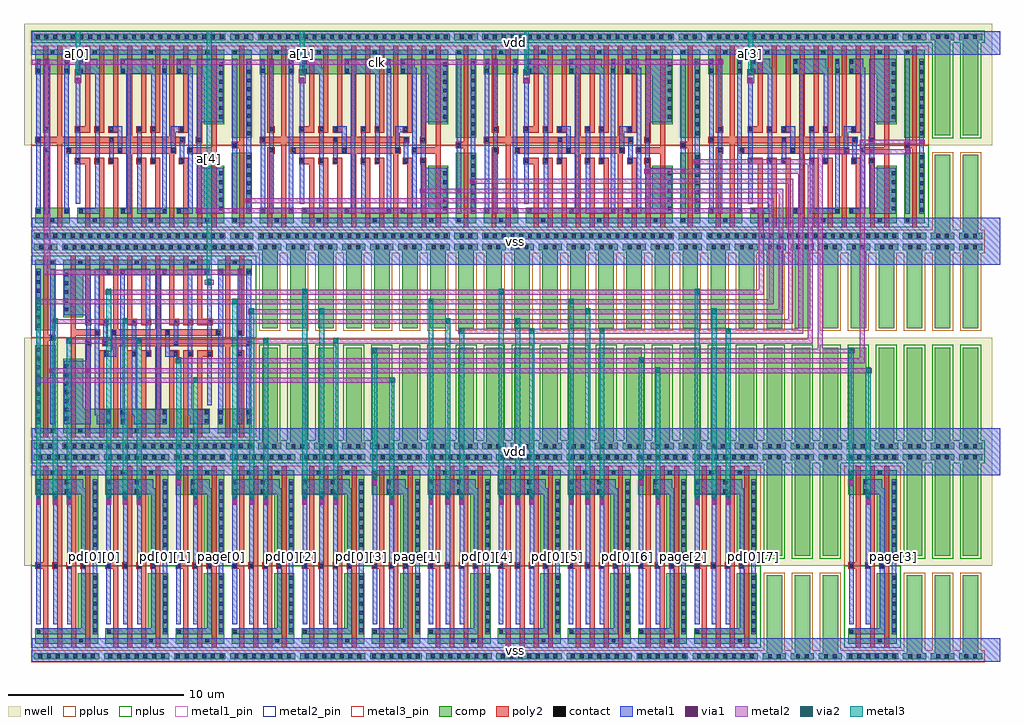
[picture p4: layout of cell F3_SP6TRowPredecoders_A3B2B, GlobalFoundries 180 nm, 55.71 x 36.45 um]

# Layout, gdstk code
from math import pi, radians
import gdstk
lib = gdstk.Library(unit=1e-6, precision=1e-09)
def R(c, l, rs):  # rectangles x0, y0, x1, y1
    for r in rs: c.add(gdstk.rectangle(r[:2], r[2:], *l))
def A(c, l, x, y, w, h, nx, ny, dx, dy):  # array of equal rectangles
    R(c, l, [(x+i*dx, y+j*dy, x+i*dx+w, y+j*dy+h) for i in range(nx) for j in range(ny)])
def P(c, l, *ps):  # polygons
    for p in ps: c.add(gdstk.Polygon(p, *l))
nwell = (21, 0)
comp = (22, 0)
poly2 = (30, 0)
pplus = (31, 0)
nplus = (32, 0)
contact = (33, 0)
metal1 = (34, 0)
metal1_pin = (34, 10)
via1 = (35, 0)
metal2 = (36, 0)
metal2_pin = (36, 10)
via2 = (38, 0)
metal3 = (42, 0)
metal3_pin = (42, 10)

f3_dec_and2_x1 = lib.new_cell('F3_Dec_and2_x1')
R(f3_dec_and2_x1, nwell, [(-0.43,5.5,3.63,12.43)])
R(f3_dec_and2_x1, comp, [(0.14,0.14,3.06,0.5), (0.14,11.5,3.06,11.86)])
P(f3_dec_and2_x1, comp, [(0.22,1.045),(0.22,1.925),(1.84,1.925),(1.84,5.07),(3,5.07),(3,1.045)],
  [(1.84,5.93),(1.84,9.555),(0.22,9.555),(0.22,10.955),(3,10.955),(3,5.93)])
P(f3_dec_and2_x1, poly2, [(1.46,0.825),(1.46,5.32),(1.18,5.32),(1.18,5.68),(1.46,5.68),(1.46,11.175),(1.74,11.175),(1.74,0.825)],
  [(0.66,0.825),(0.66,5.32),(0.22,5.32),(0.22,5.68),(0.66,5.68),(0.66,11.175),(0.94,11.175),(0.94,0.825)],
  [(2.28,0.825),(2.28,5.32),(1.98,5.32),(1.98,5.68),(2.28,5.68),(2.28,11.175),(2.56,11.175),(2.56,0.825)])
R(f3_dec_and2_x1, pplus, [(-0.02,-0.02,3.22,0.66), (-0.02,5.5,3.22,11.185)])
R(f3_dec_and2_x1, nplus, [(-0.02,0.815,3.22,5.5), (-0.02,11.34,3.22,12.02)])
A(f3_dec_and2_x1, contact, 0.24, 0.21, 0.22, 0.22, 6, 2, 0.5, 11.36)
A(f3_dec_and2_x1, contact, 2.71, 1.705, 0.22, 0.22, 1, 7, 0, 0.5)
A(f3_dec_and2_x1, contact, 2.71, 6.075, 0.22, 0.22, 1, 9, 0, 0.5)
R(f3_dec_and2_x1, contact, [(1.91,1.115,2.13,1.335), (0.29,1.63,0.51,1.85), (0.29,5.39,0.51,5.61), (1.25,5.39,1.47,5.61), (2.05,5.39,2.27,5.61), (1.09,9.64,1.31,9.86), (1.09,10.14,1.31,10.36), (0.29,10.665,0.51,10.885), (1.91,10.665,2.13,10.885)])
R(f3_dec_and2_x1, metal1, [(0,0,3.2,1.34), (2.69,1.57,2.95,10.43), (0.27,2.14,0.53,10.43), (1.23,2.14,1.49,9.35), (0,10.66,3.2,12)])
P(f3_dec_and2_x1, metal1, [(0.285,1.57),(0.285,1.91),(2.03,1.91),(2.03,9.58),(1.085,9.58),(1.085,10.43),(2.16,10.43),(2.16,9.92),(2.29,9.92),(2.29,1.57)])
R(f3_dec_and2_x1, metal1_pin, [(0,0,3.2,1.34), (2.69,1.57,2.95,10.43), (0.27,2.14,0.53,10.43), (1.23,2.14,1.49,9.35), (0,10.66,3.2,12)])
f3_dec_and2_x1.add(gdstk.Label('q', (2.82,6), layer=34, texttype=10))
f3_dec_and2_x1.add(gdstk.Label('i1', (1.36,5.745), layer=34, texttype=10))
f3_dec_and2_x1.add(gdstk.Label('i0', (0.4,6.285), layer=34, texttype=10))
f3_dec_and2_x1.add(gdstk.Label('vss', (1.6,0.67), layer=34, texttype=10))
f3_dec_and2_x1.add(gdstk.Label('vdd', (1.6,11.33), layer=34, texttype=10))

f3_dec_and3_x1 = lib.new_cell('F3_Dec_and3_x1')
R(f3_dec_and3_x1, nwell, [(-0.43,5.5,4.43,12.43)])
R(f3_dec_and3_x1, comp, [(0.14,0.14,3.86,0.5), (0.14,11.5,3.86,11.86)])
P(f3_dec_and3_x1, comp, [(0.22,1.045),(0.22,1.925),(2.64,1.925),(2.64,5.07),(3.8,5.07),(3.8,1.045)],
  [(2.64,5.93),(2.64,9.555),(0.22,9.555),(0.22,10.955),(3.8,10.955),(3.8,5.93)])
P(f3_dec_and3_x1, poly2, [(1.46,0.825),(1.46,5.32),(1.18,5.32),(1.18,5.68),(1.46,5.68),(1.46,11.175),(1.74,11.175),(1.74,0.825)],
  [(2.26,0.825),(2.26,5.32),(1.98,5.32),(1.98,5.68),(2.26,5.68),(2.26,11.175),(2.54,11.175),(2.54,0.825)],
  [(0.66,0.825),(0.66,5.32),(0.22,5.32),(0.22,5.68),(0.66,5.68),(0.66,11.175),(0.94,11.175),(0.94,0.825)],
  [(3.08,0.825),(3.08,5.32),(2.78,5.32),(2.78,5.68),(3.08,5.68),(3.08,11.175),(3.36,11.175),(3.36,0.825)])
R(f3_dec_and3_x1, pplus, [(-0.02,-0.02,4.02,0.66), (-0.02,5.5,4.02,11.185)])
R(f3_dec_and3_x1, nplus, [(-0.02,0.815,4.02,5.5), (-0.02,11.34,4.02,12.02)])
A(f3_dec_and3_x1, contact, 0.39, 0.21, 0.22, 0.22, 7, 2, 0.5, 11.36)
A(f3_dec_and3_x1, contact, 3.51, 1.705, 0.22, 0.22, 1, 7, 0, 0.5)
A(f3_dec_and3_x1, contact, 1.25, 5.39, 0.22, 0.22, 3, 1, 0.8, 0)
A(f3_dec_and3_x1, contact, 3.51, 6.075, 0.22, 0.22, 1, 9, 0, 0.5)
R(f3_dec_and3_x1, contact, [(2.71,1.115,2.93,1.335), (0.29,1.63,0.51,1.85), (0.29,5.39,0.51,5.61), (0.29,9.64,0.51,9.86), (1.89,9.64,2.11,9.86), (0.29,10.14,0.51,10.36), (1.89,10.14,2.11,10.36), (1.09,10.665,1.31,10.885), (2.71,10.665,2.93,10.885)])
R(f3_dec_and3_x1, metal1, [(0,0,4,1.34), (3.49,1.57,3.75,10.43), (0.27,2.14,0.53,9.35), (1.23,2.14,1.49,9.35), (2.03,2.14,2.29,9.35), (0,10.66,4,12)])
P(f3_dec_and3_x1, metal1, [(0.285,1.57),(0.285,1.91),(2.83,1.91),(2.83,9.58),(0.285,9.58),(0.285,10.43),(2.96,10.43),(2.96,9.92),(3.09,9.92),(3.09,1.57)])
R(f3_dec_and3_x1, metal1_pin, [(0,0,4,1.34), (3.49,1.57,3.75,10.43), (0.27,2.14,0.53,9.35), (1.23,2.14,1.49,9.35), (2.03,2.14,2.29,9.35), (0,10.66,4,12)])
f3_dec_and3_x1.add(gdstk.Label('q', (3.62,6), layer=34, texttype=10))
f3_dec_and3_x1.add(gdstk.Label('i2', (2.16,5.745), layer=34, texttype=10))
f3_dec_and3_x1.add(gdstk.Label('i1', (1.36,5.745), layer=34, texttype=10))
f3_dec_and3_x1.add(gdstk.Label('i0', (0.4,5.745), layer=34, texttype=10))
f3_dec_and3_x1.add(gdstk.Label('vss', (2,0.67), layer=34, texttype=10))
f3_dec_and3_x1.add(gdstk.Label('vdd', (2,11.33), layer=34, texttype=10))

f3_dec_tie_diff_w2 = lib.new_cell('F3_Dec_tie_diff_w2')
R(f3_dec_tie_diff_w2, nwell, [(-0.43,5.5,2.03,12.43)])
P(f3_dec_tie_diff_w2, comp, [(0.14,0.14),(0.14,0.5),(0.36,0.5),(0.36,4.94),(1.24,4.94),(1.24,0.5),(1.46,0.5),(1.46,0.14)],
  [(0.36,6.06),(0.36,11.5),(0.14,11.5),(0.14,11.86),(1.46,11.86),(1.46,11.5),(1.24,11.5),(1.24,6.06)])
P(f3_dec_tie_diff_w2, pplus, [(-0.02,-0.02),(-0.02,0.66),(0.2,0.66),(0.2,5.1),(1.4,5.1),(1.4,0.66),(1.62,0.66),(1.62,-0.02)])
P(f3_dec_tie_diff_w2, nplus, [(0.2,5.9),(0.2,11.34),(-0.02,11.34),(-0.02,12.02),(1.62,12.02),(1.62,11.34),(1.4,11.34),(1.4,5.9)])
R(f3_dec_tie_diff_w2, contact, [(0.44,0.21,0.66,0.43), (0.94,0.21,1.16,0.43), (0.44,11.57,0.66,11.79), (0.94,11.57,1.16,11.79)])
R(f3_dec_tie_diff_w2, metal1, [(0,0,1.6,1.34), (0,10.66,1.6,12)])
R(f3_dec_tie_diff_w2, metal1_pin, [(0,0,1.6,1.34), (0,10.66,1.6,12)])
f3_dec_tie_diff_w2.add(gdstk.Label('vss', (0.8,0.67), layer=34, texttype=10))
f3_dec_tie_diff_w2.add(gdstk.Label('vdd', (0.8,11.33), layer=34, texttype=10))

f3_dec_dff_x1 = lib.new_cell('F3_Dec_dff_x1')
R(f3_dec_dff_x1, nwell, [(-0.43,5.5,11.63,12.43)])
R(f3_dec_dff_x1, comp, [(0.14,0.14,11.06,0.5), (0.22,1.045,2.18,1.925), (0.22,9.555,2.18,10.955), (0.14,11.5,11.06,11.86)])
P(f3_dec_dff_x1, comp, [(2.62,1.045),(2.62,1.925),(9.84,1.925),(9.84,4.32),(11,4.32),(11,1.045)],
  [(9.84,6.68),(9.84,9.555),(2.62,9.555),(2.62,10.955),(11,10.955),(11,6.68)])
P(f3_dec_dff_x1, poly2, [(9.38,5.62),(9.38,5.98),(9.46,5.98),(9.46,11.175),(9.74,11.175),(9.74,5.62)],
  [(10.28,0.825),(10.28,5.02),(8.89,5.02),(8.89,5.38),(10.28,5.38),(10.28,11.175),(10.56,11.175),(10.56,0.825)],
  [(2.47,6.22),(2.47,6.58),(3.06,6.58),(3.06,11.175),(3.34,11.175),(3.34,6.22)],
  [(3.06,0.825),(3.06,4.42),(2.47,4.42),(2.47,4.78),(3.34,4.78),(3.34,0.825)],
  [(3.58,6.22),(3.58,6.58),(3.86,6.58),(3.86,11.175),(4.14,11.175),(4.14,6.22)],
  [(4.38,6.22),(4.38,6.58),(4.66,6.58),(4.66,11.175),(4.94,11.175),(4.94,6.22)],
  [(5.98,6.22),(5.98,6.58),(6.26,6.58),(6.26,11.175),(6.54,11.175),(6.54,6.22)],
  [(6.78,6.22),(6.78,6.58),(7.06,6.58),(7.06,11.175),(7.34,11.175),(7.34,6.22)],
  [(8.38,6.22),(8.38,6.58),(8.66,6.58),(8.66,11.175),(8.94,11.175),(8.94,6.22)],
  [(5.46,0.825),(5.46,5.02),(1.98,5.02),(1.98,5.38),(8.27,5.38),(8.27,5.02),(8.14,5.02),(8.14,0.825),(7.86,0.825),(7.86,5.02),(5.74,5.02),(5.74,0.825)],
  [(3.86,0.825),(3.86,4.42),(3.58,4.42),(3.58,4.78),(4.14,4.78),(4.14,0.825)],
  [(4.66,0.825),(4.66,4.42),(4.38,4.42),(4.38,4.78),(4.94,4.78),(4.94,0.825)],
  [(6.26,0.825),(6.26,4.42),(5.98,4.42),(5.98,4.78),(6.54,4.78),(6.54,0.825)],
  [(7.06,0.825),(7.06,4.42),(6.78,4.42),(6.78,4.78),(7.34,4.78),(7.34,0.825)],
  [(9.46,0.825),(9.46,4.42),(9.38,4.42),(9.38,4.78),(9.74,4.78),(9.74,0.825)],
  [(0.66,0.825),(0.66,5.38),(1.07,5.38),(1.07,5.02),(0.94,5.02),(0.94,0.825)],
  [(0.66,6.22),(0.66,11.175),(0.94,11.175),(0.94,6.58),(1.07,6.58),(1.07,6.22)],
  [(8.66,0.825),(8.66,4.42),(8.4,4.42),(8.4,4.78),(8.94,4.78),(8.94,0.825)],
  [(1.46,0.825),(1.46,5.62),(0.22,5.62),(0.22,5.98),(1.46,5.98),(1.46,11.175),(1.74,11.175),(1.74,5.98),(5.46,5.98),(5.46,11.175),(5.74,11.175),(5.74,5.98),(7.86,5.98),(7.86,11.175),(8.14,11.175),(8.14,5.98),(8.76,5.98),(8.76,5.62),(1.74,5.62),(1.74,0.825)])
R(f3_dec_dff_x1, pplus, [(-0.02,-0.02,11.22,0.66), (-0.02,5.5,11.22,11.185)])
R(f3_dec_dff_x1, nplus, [(-0.02,0.815,11.22,5.5), (-0.02,11.34,11.22,12.02)])
A(f3_dec_dff_x1, contact, 0.24, 0.21, 0.22, 0.22, 22, 2, 0.5, 11.36)
A(f3_dec_dff_x1, contact, 2.69, 1.63, 0.22, 0.22, 3, 2, 2.4, 8.01)
A(f3_dec_dff_x1, contact, 10.71, 1.775, 0.22, 0.22, 1, 5, 0, 0.5)
A(f3_dec_dff_x1, contact, 10.71, 7.005, 0.22, 0.22, 1, 7, 0, 0.5)
A(f3_dec_dff_x1, contact, 2.69, 10.14, 0.22, 0.22, 3, 1, 2.4, 0)
R(f3_dec_dff_x1, contact, [(1.09,1.115,1.31,1.335), (3.49,1.115,3.71,1.335), (6.69,1.115,6.91,1.335), (9.91,1.115,10.13,1.335), (0.29,1.63,0.51,1.85), (1.89,1.63,2.11,1.85), (8.29,1.63,8.51,1.85), (2.54,4.49,2.76,4.71), (3.65,4.49,3.87,4.71), (4.45,4.49,4.67,4.71), (6.05,4.49,6.27,4.71), (6.85,4.49,7.07,4.71), (8.47,4.49,8.69,4.71), (9.45,4.49,9.67,4.71), (0.78,5.09,1,5.31), (2.05,5.09,2.27,5.31), (4.94,5.09,5.16,5.31), (7.98,5.09,8.2,5.31), (8.96,5.09,9.18,5.31), (0.29,5.69,0.51,5.91), (4.45,5.69,4.67,5.91), (8.47,5.69,8.69,5.91), (9.45,5.69,9.67,5.91), (0.78,6.29,1,6.51), (2.54,6.29,2.76,6.51), (3.65,6.29,3.87,6.51), (4.45,6.29,4.67,6.51), (6.05,6.29,6.27,6.51), (6.85,6.29,7.07,6.51), (8.45,6.29,8.67,6.51), (0.29,9.64,0.51,9.86), (1.89,9.64,2.11,9.86), (8.29,9.64,8.51,9.86), (0.29,10.14,0.51,10.36), (1.89,10.14,2.11,10.36), (8.29,10.14,8.51,10.36), (1.09,10.665,1.31,10.885), (3.49,10.665,3.71,10.885), (6.69,10.665,6.91,10.885), (9.91,10.665,10.13,10.885)])
R(f3_dec_dff_x1, metal1, [(0,0,11.2,1.34), (0.76,1.57,1.02,10.43), (2.52,2.14,2.78,9.35), (4.43,4.43,4.69,5.97), (8.45,4.43,8.71,5.97), (0,10.66,11.2,12)])
P(f3_dec_dff_x1, metal1, [(9.43,1.57),(9.43,10.43),(10.935,10.43),(10.935,6.8),(9.69,6.8),(9.69,4.2),(10.935,4.2),(10.935,1.57)],
  [(8.285,1.57),(8.285,1.91),(8.94,1.91),(8.94,9.58),(8.285,9.58),(8.285,10.43),(9.07,10.43),(9.07,9.92),(9.2,9.92),(9.2,1.57)],
  [(5.085,1.57),(5.085,1.91),(5.41,1.91),(5.41,9.58),(5.085,9.58),(5.085,10.43),(6.96,10.43),(6.96,9.92),(7.09,9.92),(7.09,4.43),(6.83,4.43),(6.83,9.58),(5.67,9.58),(5.67,1.57)],
  [(4.92,5.03),(4.92,6.23),(4.445,6.23),(4.445,6.57),(5.18,6.57),(5.18,5.03)],
  [(2.685,1.57),(2.685,1.91),(3.63,1.91),(3.63,9.58),(2.685,9.58),(2.685,10.43),(3.76,10.43),(3.76,9.92),(3.89,9.92),(3.89,1.57)],
  [(7.96,5.03),(7.96,6.57),(8.675,6.57),(8.675,6.23),(8.22,6.23),(8.22,5.03)],
  [(6.03,1.57),(6.03,6.57),(6.29,6.57),(6.29,1.91),(7.47,1.91),(7.47,9.92),(7.485,9.92),(7.485,10.43),(7.715,10.43),(7.715,9.92),(7.73,9.92),(7.73,1.57)],
  [(1.87,1.57),(1.87,9.92),(1.885,9.92),(1.885,10.43),(2.115,10.43),(2.115,9.92),(2.13,9.92),(2.13,5.37),(2.275,5.37),(2.275,5.03),(2.13,5.03),(2.13,1.57)],
  [(0.27,1.57),(0.27,9.92),(0.285,9.92),(0.285,10.43),(0.515,10.43),(0.515,9.92),(0.53,9.92),(0.53,1.57)])
R(f3_dec_dff_x1, metal1_pin, [(0,0,11.2,1.34), (0.76,1.57,1.02,10.43), (9.43,1.57,9.69,10.43), (2.52,2.14,2.78,9.35), (0,10.66,11.2,12)])
f3_dec_dff_x1.add(gdstk.Label('q', (9.56,6), layer=34, texttype=10))
f3_dec_dff_x1.add(gdstk.Label('i', (2.65,5.745), layer=34, texttype=10))
f3_dec_dff_x1.add(gdstk.Label('clk', (0.89,6), layer=34, texttype=10))
f3_dec_dff_x1.add(gdstk.Label('vss', (5.6,0.67), layer=34, texttype=10))
f3_dec_dff_x1.add(gdstk.Label('vdd', (5.6,11.33), layer=34, texttype=10))

f3_dec_inv_x1 = lib.new_cell('F3_Dec_inv_x1')
R(f3_dec_inv_x1, nwell, [(-0.43,5.5,2.03,12.43)])
R(f3_dec_inv_x1, comp, [(0.14,0.14,1.46,0.5), (0.22,1.045,1.38,5.07), (0.22,5.93,1.38,10.955), (0.14,11.5,1.46,11.86)])
P(f3_dec_inv_x1, poly2, [(0.66,0.825),(0.66,5.32),(0.22,5.32),(0.22,5.68),(0.66,5.68),(0.66,11.175),(0.94,11.175),(0.94,0.825)])
R(f3_dec_inv_x1, pplus, [(-0.02,-0.02,1.62,0.66), (-0.02,5.5,1.62,11.185)])
R(f3_dec_inv_x1, nplus, [(-0.02,0.815,1.62,5.5), (-0.02,11.34,1.62,12.02)])
A(f3_dec_inv_x1, contact, 1.09, 1.705, 0.22, 0.22, 1, 7, 0, 0.5)
A(f3_dec_inv_x1, contact, 1.09, 6.075, 0.22, 0.22, 1, 9, 0, 0.5)
R(f3_dec_inv_x1, contact, [(0.44,0.21,0.66,0.43), (0.94,0.21,1.16,0.43), (0.29,1.115,0.51,1.335), (0.29,5.39,0.51,5.61), (0.29,10.665,0.51,10.885), (0.44,11.57,0.66,11.79), (0.94,11.57,1.16,11.79)])
R(f3_dec_inv_x1, metal1, [(0,0,1.6,1.34), (0.27,1.57,0.53,10.43), (1.07,1.57,1.33,10.43), (0,10.66,1.6,12)])
R(f3_dec_inv_x1, metal1_pin, [(0,0,1.6,1.34), (0.27,1.57,0.53,10.43), (1.07,1.57,1.33,10.43), (0,10.66,1.6,12)])
f3_dec_inv_x1.add(gdstk.Label('i', (0.4,6), layer=34, texttype=10))
f3_dec_inv_x1.add(gdstk.Label('nq', (1.2,6), layer=34, texttype=10))
f3_dec_inv_x1.add(gdstk.Label('vdd', (0.8,11.33), layer=34, texttype=10))
f3_dec_inv_x1.add(gdstk.Label('vss', (0.8,0.67), layer=34, texttype=10))

f3_sp6trowpredecoders_a3 = lib.new_cell('F3_SP6TRowPredecoders_A3B2B')
A(f3_sp6trowpredecoders_a3, metal1, 10.69, 1.57, 0.26, 8.86, 3, 1, 4, 0)
A(f3_sp6trowpredecoders_a3, metal1, 21.89, 1.57, 0.26, 8.86, 4, 1, 4, 0)
A(f3_sp6trowpredecoders_a3, metal1, 2.52, 32.97, 0.26, 0.38, 4, 1, 12.8, 0)
A(f3_sp6trowpredecoders_a3, metal1, 0.76, 34.05, 0.26, 0.38, 4, 1, 12.8, 0)
R(f3_sp6trowpredecoders_a3, metal1, [(0,0,55.28,1.34), (3.49,1.57,3.75,10.43), (7.49,1.57,7.75,10.43), (37.09,1.57,37.35,10.43), (41.09,1.57,41.35,10.43), (49.09,1.57,49.35,10.43), (0.27,8.97,0.53,9.35), (1.23,8.97,1.49,9.35), (2.03,8.97,2.29,9.35), (4.27,8.97,4.53,9.35), (5.23,8.97,5.49,9.35), (6.03,8.97,6.29,9.35), (9.23,8.97,9.49,9.35), (11.47,8.97,11.73,9.35), (12.43,8.97,12.69,9.35), (13.23,8.97,13.49,9.35), (15.47,8.97,15.73,9.35), (16.43,8.97,16.69,9.35), (17.23,8.97,17.49,9.35), (20.43,8.97,20.69,9.35), (22.67,8.97,22.93,9.35), (23.63,8.97,23.89,9.35), (24.43,8.97,24.69,9.35), (26.67,8.97,26.93,9.35), (27.63,8.97,27.89,9.35), (28.43,8.97,28.69,9.35), (30.67,8.97,30.93,9.35), (31.63,8.97,31.89,9.35), (32.43,8.97,32.69,9.35), (35.63,8.97,35.89,9.35), (37.87,8.97,38.13,9.35), (38.83,8.97,39.09,9.35), (39.63,8.97,39.89,9.35), (47.63,8.97,47.89,9.35), (8.27,10.05,8.53,10.43), (19.47,10.05,19.73,10.43), (34.67,10.05,34.93,10.43), (46.67,10.05,46.93,10.43), (0,10.66,55.28,13.34), (0.27,15.88,0.53,16.26), (1.07,16.44,1.33,16.82), (3.11,16.44,3.37,16.82), (10.02,21.48,10.28,21.86), (11.78,22.05,12.04,22.43), (0,22.66,55.28,25.34), (9.43,25.57,9.69,25.95), (11.47,25.57,11.73,25.95), (12.27,26.13,12.53,26.51), (22.23,26.69,22.49,27.07), (24.27,26.69,24.53,27.07), (25.07,27.25,25.33,27.63), (35.03,27.81,35.29,28.19), (37.07,27.81,37.33,28.19), (37.87,28.37,38.13,28.75), (47.83,28.93,48.09,29.31), (49.87,28.93,50.13,29.31), (50.67,29.49,50.93,29.87), (0,34.66,55.28,36)])
A(f3_sp6trowpredecoders_a3, metal1_pin, 10.69, 1.57, 0.26, 8.86, 3, 1, 4, 0)
A(f3_sp6trowpredecoders_a3, metal1_pin, 21.89, 1.57, 0.26, 8.86, 4, 1, 4, 0)
R(f3_sp6trowpredecoders_a3, metal1_pin, [(0,0,55.28,1.34), (3.49,1.57,3.75,10.43), (7.49,1.57,7.75,10.43), (37.09,1.57,37.35,10.43), (41.09,1.57,41.35,10.43), (49.09,1.57,49.35,10.43), (0,10.66,55.28,13.34), (0,22.66,55.28,25.34), (0,34.66,55.28,36)])
A(f3_sp6trowpredecoders_a3, via1, 2.52, 33.03, 0.26, 0.26, 4, 1, 12.8, 0)
A(f3_sp6trowpredecoders_a3, via1, 0.76, 34.11, 0.26, 0.26, 4, 1, 12.8, 0)
R(f3_sp6trowpredecoders_a3, via1, [(0.27,9.03,0.53,9.29), (1.23,9.03,1.49,9.29), (2.03,9.03,2.29,9.29), (4.27,9.03,4.53,9.29), (5.23,9.03,5.49,9.29), (6.03,9.03,6.29,9.29), (9.23,9.03,9.49,9.29), (11.47,9.03,11.73,9.29), (12.43,9.03,12.69,9.29), (13.23,9.03,13.49,9.29), (15.47,9.03,15.73,9.29), (16.43,9.03,16.69,9.29), (17.23,9.03,17.49,9.29), (20.43,9.03,20.69,9.29), (22.67,9.03,22.93,9.29), (23.63,9.03,23.89,9.29), (24.43,9.03,24.69,9.29), (26.67,9.03,26.93,9.29), (27.63,9.03,27.89,9.29), (28.43,9.03,28.69,9.29), (30.67,9.03,30.93,9.29), (31.63,9.03,31.89,9.29), (32.43,9.03,32.69,9.29), (35.63,9.03,35.89,9.29), (37.87,9.03,38.13,9.29), (38.83,9.03,39.09,9.29), (39.63,9.03,39.89,9.29), (47.63,9.03,47.89,9.29), (8.27,10.11,8.53,10.37), (19.47,10.11,19.73,10.37), (34.67,10.11,34.93,10.37), (46.67,10.11,46.93,10.37), (0.27,15.94,0.53,16.2), (1.07,16.5,1.33,16.76), (3.11,16.5,3.37,16.76), (10.02,21.54,10.28,21.8), (11.78,22.11,12.04,22.37), (9.43,25.63,9.69,25.89), (11.47,25.63,11.73,25.89), (12.27,26.19,12.53,26.45), (22.23,26.75,22.49,27.01), (24.27,26.75,24.53,27.01), (25.07,27.31,25.33,27.57), (35.03,27.87,35.29,28.13), (37.07,27.87,37.33,28.13), (37.87,28.43,38.13,28.69), (47.83,28.99,48.09,29.25), (49.87,28.99,50.13,29.25), (50.67,29.55,50.93,29.81)])
A(f3_sp6trowpredecoders_a3, metal2, 2.46, 33.02, 0.38, 0.8, 4, 1, 12.8, 0)
R(f3_sp6trowpredecoders_a3, metal2, [(0.26,8.97,0.54,9.73), (1.22,8.97,1.5,9.73), (2.02,8.97,2.3,9.73), (4.26,8.97,4.54,9.73), (5.22,8.97,5.5,9.73), (6.02,8.97,6.3,9.73), (9.22,8.97,9.5,9.73), (11.46,8.97,11.74,9.73), (12.42,8.97,12.7,9.73), (13.22,8.97,13.5,9.73), (15.46,8.97,15.74,9.73), (16.42,8.97,16.7,9.73), (17.22,8.97,17.5,9.73), (20.42,8.97,20.7,9.73), (22.66,8.97,22.94,9.73), (23.62,8.97,23.9,9.73), (24.42,8.97,24.7,9.73), (26.66,8.97,26.94,9.73), (27.62,8.97,27.9,9.73), (28.42,8.97,28.7,9.73), (30.66,8.97,30.94,9.73), (31.62,8.97,31.9,9.73), (32.42,8.97,32.7,9.73), (35.62,8.97,35.9,9.73), (37.86,8.97,38.14,9.73), (38.82,8.97,39.1,9.73), (39.62,8.97,39.9,9.73), (47.62,8.97,47.9,9.73), (8.26,10.05,8.54,10.81), (19.46,10.05,19.74,10.81), (34.66,10.05,34.94,10.81), (46.66,10.05,46.94,10.81), (0.21,15.93,20.75,16.21), (1.01,16.49,47.95,16.77), (9.9,21.53,10.4,21.82)])
P(f3_sp6trowpredecoders_a3, metal2, [(8.21,17.05),(8.21,17.33),(47.27,17.33),(47.27,29.82),(50.99,29.82),(50.99,29.54),(47.55,29.54),(47.55,17.05)],
  [(1.97,18.17),(1.97,18.45),(44.32,18.45),(44.32,28.42),(37.81,28.42),(37.81,28.7),(44.6,28.7),(44.6,18.17)],
  [(12.37,19.85),(12.37,20.13),(42.64,20.13),(42.64,26.74),(22.17,26.74),(22.17,27.02),(42.92,27.02),(42.92,19.85)],
  [(24.37,18.73),(24.37,19.01),(43.76,19.01),(43.76,27.86),(34.97,27.86),(34.97,28.14),(44.04,28.14),(44.04,18.73)],
  [(1.17,19.29),(1.17,19.57),(43.2,19.57),(43.2,27.3),(25.01,27.3),(25.01,27.58),(43.48,27.58),(43.48,19.29)],
  [(0.21,20.41),(0.21,20.69),(42.08,20.69),(42.08,26.18),(12.21,26.18),(12.21,26.46),(42.36,26.46),(42.36,20.41)],
  [(19.41,17.61),(19.41,17.89),(44.88,17.89),(44.88,29.26),(50.19,29.26),(50.19,28.98),(45.16,28.98),(45.16,17.89),(46.99,17.89),(46.99,17.61)],
  [(4.21,20.97),(4.21,21.25),(41.52,21.25),(41.52,25.62),(9.37,25.62),(9.37,25.9),(41.8,25.9),(41.8,20.97)],
  [(0.7,22.1),(0.7,34.1),(0,34.1),(0,34.38),(39.48,34.38),(39.48,34.1),(1.08,34.1),(1.08,22.38),(12.1,22.38),(12.1,22.1)])
R(f3_sp6trowpredecoders_a3, metal2_pin, [(0,34.1,39.48,34.38)])
A(f3_sp6trowpredecoders_a3, via2, 24.43, 18.74, 0.26, 0.26, 3, 1, 4, 0)
A(f3_sp6trowpredecoders_a3, via2, 0.27, 20.42, 0.26, 0.26, 3, 1, 11.2, 0)
A(f3_sp6trowpredecoders_a3, via2, 4.27, 20.98, 0.26, 0.26, 4, 1, 11.2, 0)
A(f3_sp6trowpredecoders_a3, via2, 2.52, 33.55, 0.26, 0.26, 4, 1, 12.8, 0)
R(f3_sp6trowpredecoders_a3, via2, [(0.27,9.41,0.53,9.67), (1.23,9.41,1.49,9.67), (2.03,9.41,2.29,9.67), (4.27,9.41,4.53,9.67), (5.23,9.41,5.49,9.67), (6.03,9.41,6.29,9.67), (9.23,9.41,9.49,9.67), (11.47,9.41,11.73,9.67), (12.43,9.41,12.69,9.67), (13.23,9.41,13.49,9.67), (15.47,9.41,15.73,9.67), (16.43,9.41,16.69,9.67), (17.23,9.41,17.49,9.67), (20.43,9.41,20.69,9.67), (22.67,9.41,22.93,9.67), (23.63,9.41,23.89,9.67), (24.43,9.41,24.69,9.67), (26.67,9.41,26.93,9.67), (27.63,9.41,27.89,9.67), (28.43,9.41,28.69,9.67), (30.67,9.41,30.93,9.67), (31.63,9.41,31.89,9.67), (32.43,9.41,32.69,9.67), (35.63,9.41,35.89,9.67), (37.87,9.41,38.13,9.67), (38.83,9.41,39.09,9.67), (39.63,9.41,39.89,9.67), (47.63,9.41,47.89,9.67), (8.27,10.49,8.53,10.75), (19.47,10.49,19.73,10.75), (34.67,10.49,34.93,10.75), (46.67,10.49,46.93,10.75), (9.23,15.94,9.49,16.2), (20.43,15.94,20.69,16.2), (35.63,16.5,35.89,16.76), (47.63,16.5,47.89,16.76), (8.27,17.06,8.53,17.32), (34.67,17.06,34.93,17.32), (19.47,17.62,19.73,17.88), (46.67,17.62,46.93,17.88), (2.03,18.18,2.29,18.44), (6.03,18.18,6.29,18.44), (13.23,18.18,13.49,18.44), (17.23,18.18,17.49,18.44), (39.63,18.74,39.89,19), (1.23,19.3,1.49,19.56), (5.23,19.3,5.49,19.56), (23.63,19.3,23.89,19.56), (27.63,19.3,27.89,19.56), (12.43,19.86,12.69,20.12), (16.43,19.86,16.69,20.12), (31.63,19.86,31.89,20.12), (38.83,19.86,39.09,20.12), (30.67,20.42,30.93,20.68), (10.02,21.55,10.28,21.81)])
A(f3_sp6trowpredecoders_a3, metal3, 0.26, 9.35, 0.28, 11.39, 3, 1, 11.2, 0)
A(f3_sp6trowpredecoders_a3, metal3, 4.26, 9.35, 0.28, 11.95, 4, 1, 11.2, 0)
A(f3_sp6trowpredecoders_a3, metal3, 24.42, 9.35, 0.28, 9.71, 3, 1, 4, 0)
A(f3_sp6trowpredecoders_a3, metal3, 2.51, 33.49, 0.28, 2.51, 4, 1, 12.8, 0)
R(f3_sp6trowpredecoders_a3, metal3, [(1.22,9.35,1.5,19.62), (2.02,9.35,2.3,18.5), (5.22,9.35,5.5,19.62), (6.02,9.35,6.3,18.5), (9.22,9.35,9.5,16.26), (12.42,9.35,12.7,20.18), (13.22,9.35,13.5,18.5), (16.42,9.35,16.7,20.18), (17.22,9.35,17.5,18.5), (20.42,9.35,20.7,16.26), (23.62,9.35,23.9,19.62), (27.62,9.35,27.9,19.62), (30.66,9.35,30.94,20.74), (31.62,9.35,31.9,20.18), (35.62,9.35,35.9,16.82), (38.82,9.35,39.1,20.18), (39.62,9.35,39.9,19.06), (47.62,9.35,47.9,16.82), (8.26,10.43,8.54,17.38), (19.46,10.43,19.74,17.94), (34.66,10.43,34.94,17.38), (46.66,10.43,46.94,17.94), (10.01,21.49,10.29,36)])
A(f3_sp6trowpredecoders_a3, metal3_pin, 2.51, 33.49, 0.28, 2.51, 4, 1, 12.8, 0)
R(f3_sp6trowpredecoders_a3, metal3_pin, [(10.01,21.49,10.29,36)])
f3_sp6trowpredecoders_a3.add(gdstk.Reference(f3_dec_and2_x1, (8,0)))
f3_sp6trowpredecoders_a3.add(gdstk.Reference(f3_dec_and2_x1, (19.2,0)))
f3_sp6trowpredecoders_a3.add(gdstk.Reference(f3_dec_and2_x1, (34.4,0)))
f3_sp6trowpredecoders_a3.add(gdstk.Reference(f3_dec_and2_x1, (46.4,0)))
f3_sp6trowpredecoders_a3.add(gdstk.Reference(f3_dec_and3_x1, (0,0)))
f3_sp6trowpredecoders_a3.add(gdstk.Reference(f3_dec_and3_x1, (4,0)))
f3_sp6trowpredecoders_a3.add(gdstk.Reference(f3_dec_and3_x1, (11.2,0)))
f3_sp6trowpredecoders_a3.add(gdstk.Reference(f3_dec_and3_x1, (15.2,0)))
f3_sp6trowpredecoders_a3.add(gdstk.Reference(f3_dec_and3_x1, (22.4,0)))
f3_sp6trowpredecoders_a3.add(gdstk.Reference(f3_dec_and3_x1, (26.4,0)))
f3_sp6trowpredecoders_a3.add(gdstk.Reference(f3_dec_and3_x1, (30.4,0)))
f3_sp6trowpredecoders_a3.add(gdstk.Reference(f3_dec_and3_x1, (37.6,0)))
f3_sp6trowpredecoders_a3.add(gdstk.Reference(f3_dec_tie_diff_w2, (12.8,24), x_reflection=True))
f3_sp6trowpredecoders_a3.add(gdstk.Reference(f3_dec_tie_diff_w2, (14.4,24), x_reflection=True))
f3_sp6trowpredecoders_a3.add(gdstk.Reference(f3_dec_tie_diff_w2, (16,24), x_reflection=True))
f3_sp6trowpredecoders_a3.add(gdstk.Reference(f3_dec_tie_diff_w2, (17.6,24), x_reflection=True))
f3_sp6trowpredecoders_a3.add(gdstk.Reference(f3_dec_tie_diff_w2, (19.2,24), x_reflection=True))
f3_sp6trowpredecoders_a3.add(gdstk.Reference(f3_dec_tie_diff_w2, (20.8,24), x_reflection=True))
f3_sp6trowpredecoders_a3.add(gdstk.Reference(f3_dec_tie_diff_w2, (22.4,24), x_reflection=True))
f3_sp6trowpredecoders_a3.add(gdstk.Reference(f3_dec_tie_diff_w2, (24,24), x_reflection=True))
f3_sp6trowpredecoders_a3.add(gdstk.Reference(f3_dec_tie_diff_w2, (25.6,24), x_reflection=True))
f3_sp6trowpredecoders_a3.add(gdstk.Reference(f3_dec_tie_diff_w2, (27.2,24), x_reflection=True))
f3_sp6trowpredecoders_a3.add(gdstk.Reference(f3_dec_tie_diff_w2, (28.8,24), x_reflection=True))
f3_sp6trowpredecoders_a3.add(gdstk.Reference(f3_dec_tie_diff_w2, (30.4,24), x_reflection=True))
f3_sp6trowpredecoders_a3.add(gdstk.Reference(f3_dec_tie_diff_w2, (32,24), x_reflection=True))
f3_sp6trowpredecoders_a3.add(gdstk.Reference(f3_dec_tie_diff_w2, (33.6,24), x_reflection=True))
f3_sp6trowpredecoders_a3.add(gdstk.Reference(f3_dec_tie_diff_w2, (35.2,24), x_reflection=True))
f3_sp6trowpredecoders_a3.add(gdstk.Reference(f3_dec_tie_diff_w2, (36.8,24), x_reflection=True))
f3_sp6trowpredecoders_a3.add(gdstk.Reference(f3_dec_tie_diff_w2, (38.4,24), x_reflection=True))
f3_sp6trowpredecoders_a3.add(gdstk.Reference(f3_dec_tie_diff_w2, (40,24), x_reflection=True))
f3_sp6trowpredecoders_a3.add(gdstk.Reference(f3_dec_tie_diff_w2, (41.6,24), x_reflection=True))
f3_sp6trowpredecoders_a3.add(gdstk.Reference(f3_dec_tie_diff_w2, (43.2,24), x_reflection=True))
f3_sp6trowpredecoders_a3.add(gdstk.Reference(f3_dec_tie_diff_w2, (44.8,24), x_reflection=True))
f3_sp6trowpredecoders_a3.add(gdstk.Reference(f3_dec_tie_diff_w2, (46.4,24), x_reflection=True))
f3_sp6trowpredecoders_a3.add(gdstk.Reference(f3_dec_tie_diff_w2, (48,24), x_reflection=True))
f3_sp6trowpredecoders_a3.add(gdstk.Reference(f3_dec_tie_diff_w2, (49.6,24), x_reflection=True))
f3_sp6trowpredecoders_a3.add(gdstk.Reference(f3_dec_tie_diff_w2, (51.2,24), x_reflection=True))
f3_sp6trowpredecoders_a3.add(gdstk.Reference(f3_dec_tie_diff_w2, (52.8,24), x_reflection=True))
f3_sp6trowpredecoders_a3.add(gdstk.Reference(f3_dec_tie_diff_w2, (41.6,0)))
f3_sp6trowpredecoders_a3.add(gdstk.Reference(f3_dec_tie_diff_w2, (43.2,0)))
f3_sp6trowpredecoders_a3.add(gdstk.Reference(f3_dec_tie_diff_w2, (44.8,0)))
f3_sp6trowpredecoders_a3.add(gdstk.Reference(f3_dec_tie_diff_w2, (49.6,0)))
f3_sp6trowpredecoders_a3.add(gdstk.Reference(f3_dec_tie_diff_w2, (51.2,0)))
f3_sp6trowpredecoders_a3.add(gdstk.Reference(f3_dec_tie_diff_w2, (52.8,0)))
f3_sp6trowpredecoders_a3.add(gdstk.Reference(f3_dec_tie_diff_w2, (51.2,24)))
f3_sp6trowpredecoders_a3.add(gdstk.Reference(f3_dec_tie_diff_w2, (52.8,24)))
f3_sp6trowpredecoders_a3.add(gdstk.Reference(f3_dec_dff_x1, (12.8,24), rotation=pi))
f3_sp6trowpredecoders_a3.add(gdstk.Reference(f3_dec_inv_x1, (1.6,24), rotation=pi))
f3_sp6trowpredecoders_a3.add(gdstk.Reference(f3_dec_inv_x1, (11.2,24)))
f3_sp6trowpredecoders_a3.add(gdstk.Reference(f3_dec_inv_x1, (24,24)))
f3_sp6trowpredecoders_a3.add(gdstk.Reference(f3_dec_inv_x1, (36.8,24)))
f3_sp6trowpredecoders_a3.add(gdstk.Reference(f3_dec_inv_x1, (49.6,24)))
f3_sp6trowpredecoders_a3.add(gdstk.Reference(f3_dec_dff_x1, (0,24)))
f3_sp6trowpredecoders_a3.add(gdstk.Reference(f3_dec_dff_x1, (12.8,24)))
f3_sp6trowpredecoders_a3.add(gdstk.Reference(f3_dec_dff_x1, (25.6,24)))
f3_sp6trowpredecoders_a3.add(gdstk.Reference(f3_dec_dff_x1, (38.4,24)))
f3_sp6trowpredecoders_a3.add(gdstk.Label('page[3]', (49.22,6), layer=34, texttype=10))
f3_sp6trowpredecoders_a3.add(gdstk.Label('vss', (27.64,0.67), layer=34, texttype=10))
f3_sp6trowpredecoders_a3.add(gdstk.Label('vss', (27.64,24), layer=34, texttype=10))
f3_sp6trowpredecoders_a3.add(gdstk.Label('page[2]', (37.22,6), layer=34, texttype=10))
f3_sp6trowpredecoders_a3.add(gdstk.Label('pd[0][0]', (3.62,6), layer=34, texttype=10))
f3_sp6trowpredecoders_a3.add(gdstk.Label('vdd', (27.64,12), layer=34, texttype=10))
f3_sp6trowpredecoders_a3.add(gdstk.Label('vdd', (27.64,35.33), layer=34, texttype=10))
f3_sp6trowpredecoders_a3.add(gdstk.Label('pd[0][2]', (14.82,6), layer=34, texttype=10))
f3_sp6trowpredecoders_a3.add(gdstk.Label('pd[0][7]', (41.22,6), layer=34, texttype=10))
f3_sp6trowpredecoders_a3.add(gdstk.Label('pd[0][3]', (18.82,6), layer=34, texttype=10))
f3_sp6trowpredecoders_a3.add(gdstk.Label('pd[0][5]', (30.02,6), layer=34, texttype=10))
f3_sp6trowpredecoders_a3.add(gdstk.Label('pd[0][6]', (34.02,6), layer=34, texttype=10))
f3_sp6trowpredecoders_a3.add(gdstk.Label('pd[0][1]', (7.62,6), layer=34, texttype=10))
f3_sp6trowpredecoders_a3.add(gdstk.Label('page[0]', (10.82,6), layer=34, texttype=10))
f3_sp6trowpredecoders_a3.add(gdstk.Label('pd[0][4]', (26.02,6), layer=34, texttype=10))
f3_sp6trowpredecoders_a3.add(gdstk.Label('page[1]', (22.02,6), layer=34, texttype=10))
f3_sp6trowpredecoders_a3.add(gdstk.Label('a[4]', (10.15,28.745), layer=42, texttype=10))
f3_sp6trowpredecoders_a3.add(gdstk.Label('a[3]', (41.05,34.745), layer=42, texttype=10))
f3_sp6trowpredecoders_a3.add(gdstk.Label('a[2]', (28.25,34.745), layer=42, texttype=10))
f3_sp6trowpredecoders_a3.add(gdstk.Label('a[1]', (15.45,34.745), layer=42, texttype=10))
f3_sp6trowpredecoders_a3.add(gdstk.Label('a[0]', (2.65,34.745), layer=42, texttype=10))
f3_sp6trowpredecoders_a3.add(gdstk.Label('clk', (19.74,34.24), layer=36, texttype=10))

lib.write_gds('F3_SP6TRowPredecoders_A3B2B.gds')
